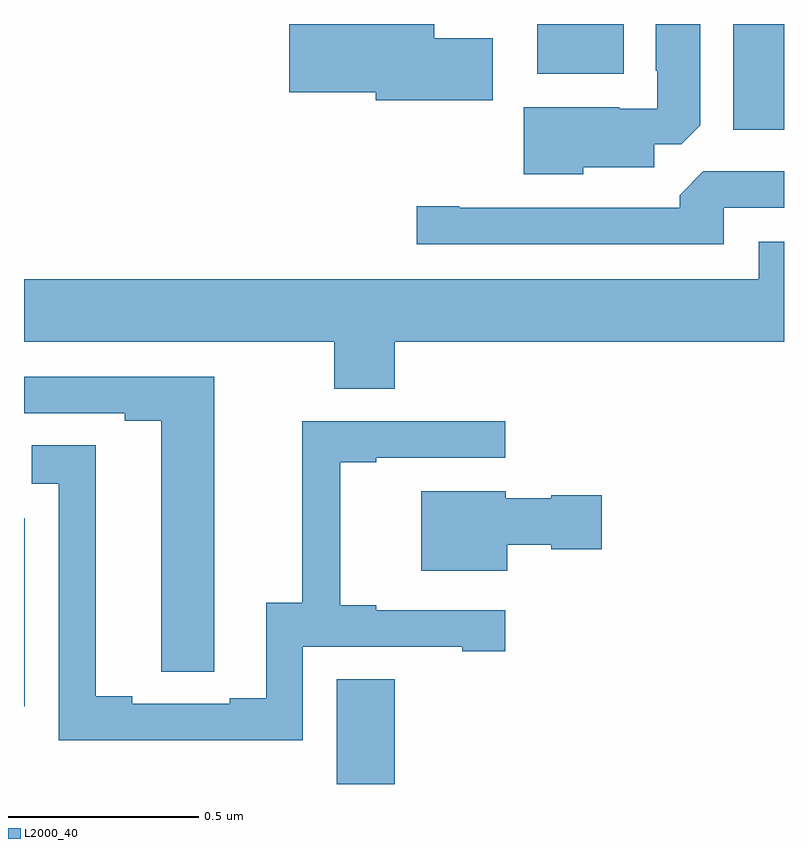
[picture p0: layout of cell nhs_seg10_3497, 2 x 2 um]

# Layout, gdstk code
import gdstk
lib = gdstk.Library(unit=1e-6, precision=1e-09)
def R(c, l, rs):  # rectangles x0, y0, x1, y1
    for r in rs: c.add(gdstk.rectangle(r[:2], r[2:], *l))
def P(c, l, *ps):  # polygons
    for p in ps: c.add(gdstk.Polygon(p, *l))
L2000_40 = (2000, 40)

nhs_seg10_3497 = lib.new_cell('nhs_seg10_3497')
R(nhs_seg10_3497, L2000_40, [(154.823,1284.5,154.976,1284.776), (154,1284.704,154.002,1285.2), (155.867,1286.222,156,1286.5), (155.351,1286.369,155.578,1286.5)])
P(nhs_seg10_3497, L2000_40, [(155.472,1286.123),(155.659,1286.123),(155.659,1286.184),(155.73,1286.184),(155.779,1286.233),(155.779,1286.5),(155.663,1286.5),(155.663,1286.377),(155.667,1286.377),(155.667,1286.277),(155.567,1286.277),(155.567,1286.281),(155.315,1286.281),(155.315,1286.105),(155.472,1286.105)],
  [(155.233,1286.463),(155.08,1286.463),(155.08,1286.5),(154.698,1286.5),(154.698,1286.321),(154.925,1286.321),(154.925,1286.3),(155.233,1286.3)],
  [(155.841,1286.016),(156,1286.016),(156,1286.112),(155.787,1286.112),(155.726,1286.05),(155.726,1286.016),(155.146,1286.016),(155.146,1286.021),(155.034,1286.021),(155.034,1285.92),(155.841,1285.92)],
  [(154.976,1285.664),(156,1285.664),(156,1285.927),(155.933,1285.927),(155.933,1285.828),(154,1285.828),(154,1285.664),(154.816,1285.664),(154.816,1285.54),(154.976,1285.54)],
  [(154.5,1284.904),(154.501,1284.904),(154.501,1285.572),(154,1285.572),(154,1285.476),(154.265,1285.476),(154.265,1285.456),(154.361,1285.456),(154.361,1284.796),(154.5,1284.796)],
  [(154.734,1284.861),(155.153,1284.861),(155.153,1284.849),(155.266,1284.849),(155.266,1284.957),(154.927,1284.957),(154.927,1284.97),(154.832,1284.97),(154.832,1285.347),(154.927,1285.347),(154.927,1285.359),(155.266,1285.359),(155.266,1285.455),(154.732,1285.455),(154.732,1284.977),(154.637,1284.977),(154.637,1284.726),(154.541,1284.726),(154.541,1284.711),(154.285,1284.711),(154.285,1284.731),(154.189,1284.731),(154.189,1285.391),(154.02,1285.391),(154.02,1285.29),(154.092,1285.29),(154.092,1284.615),(154.734,1284.615)],
  [(155.272,1285.13),(155.388,1285.13),(155.388,1285.118),(155.521,1285.118),(155.521,1285.26),(155.388,1285.26),(155.388,1285.252),(155.268,1285.252),(155.268,1285.27),(155.045,1285.27),(155.045,1285.061),(155.272,1285.061)])

lib.write_gds('nhs_seg10_3497.gds')
